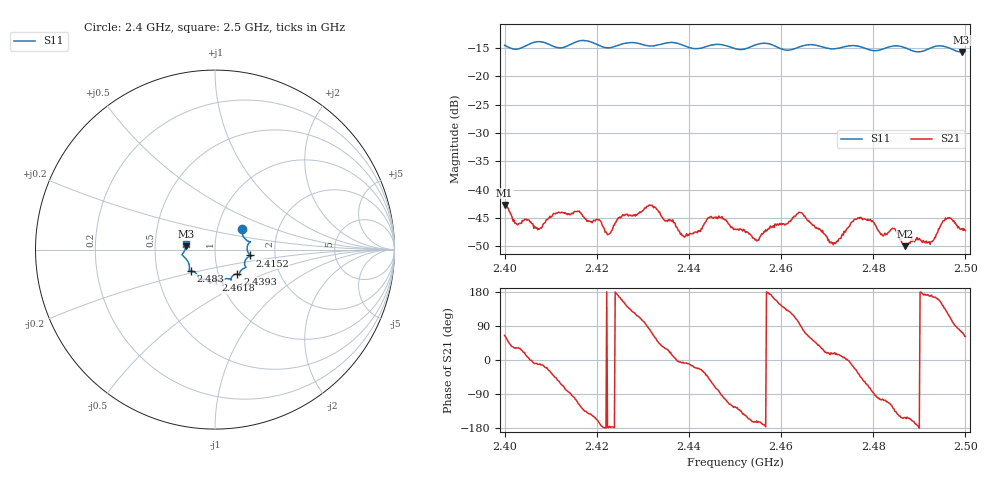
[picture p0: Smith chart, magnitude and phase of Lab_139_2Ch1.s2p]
# Hz S RI R 50
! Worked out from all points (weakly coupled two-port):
!   601 points, 2.4 GHz to 2.5 GHz, reference 50 ohm
!   highest |S21| = -42.72 dB at 2.4 GHz (marker M1); lowest = -50.0 dB at 2.487 GHz (marker M2)
!   lowest |S11| = -15.7 dB at 2.4992 GHz (marker M3), VSWR 1.39, Z = 36 + j1.34 ohm
!   |S11| at or under -10 dB: start of sweep to end of sweep
!   S12 and S22 are empty: the file has one direction only
!   S11 on the Smith chart (normalised r, x): 2.4 GHz: 1.31, +0.31; 2.4152 GHz: 1.48, -0.10; 2.4393 GHz: 1.23, -0.35; 2.4618 GHz: 0.95, -0.33; 2.483 GHz: 0.74, -0.18; 2.5 GHz: 0.72, +0.05
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2.4e9  0.1503 0.1134  0.00308 0.00663  0 0  0 0
2.407167e9  0.1978 0.0441  0.00433 -0.000877  0 0  0 0
2.415167e9  0.1963 -0.0325  -0.00106 -0.00633  0 0  0 0
2.416667e9  0.2039 -0.0377  -0.00353 -0.00493  0 0  0 0
2.4225e9  0.1669 -0.0644  -0.00401 -9.33e-05  0 0  0 0
2.426e9  0.1706 -0.0956  -0.00512 0.00292  0 0  0 0
2.433333e9  0.1369 -0.1319  0.00443 0.00475  0 0  0 0
2.439333e9  0.125 -0.1355  0.00388 -0.000552  0 0  0 0
2.444667e9  0.0889 -0.1658  0.0033 -0.00473  0 0  0 0
2.45e9  0.0697 -0.1619  -0.00243 -0.00373  0 0  0 0
2.454667e9  0.0397 -0.1868  -0.00334 -0.00115  0 0  0 0
2.461833e9  0.00402 -0.1709  -0.00322 0.00416  0 0  0 0
2.466667e9  -0.0263 -0.1888  0.00284 0.00407  0 0  0 0
2.471167e9  -0.0514 -0.1676  0.00326 0.000948  0 0  0 0
2.477e9  -0.0899 -0.1605  0.00432 -0.0035  0 0  0 0
2.483e9  -0.1355 -0.1182  -0.00135 -0.00378  0 0  0 0
2.483333e9  -0.1382 -0.1179  -0.00161 -0.00387  0 0  0 0
2.487e9  -0.1428 -0.1072  -0.00281 -0.00145  0 0  0 0
2.492667e9  -0.1759 -0.0373  -0.00344 0.000536  0 0  0 0
2.496167e9  -0.179 -0.0214  -0.00298 0.00476  0 0  0 0
2.499167e9  -0.1631 0.0181  0.00131 0.00431  0 0  0 0
2.5e9  -0.1628 0.0332  0.00203 0.00384  0 0  0 0
